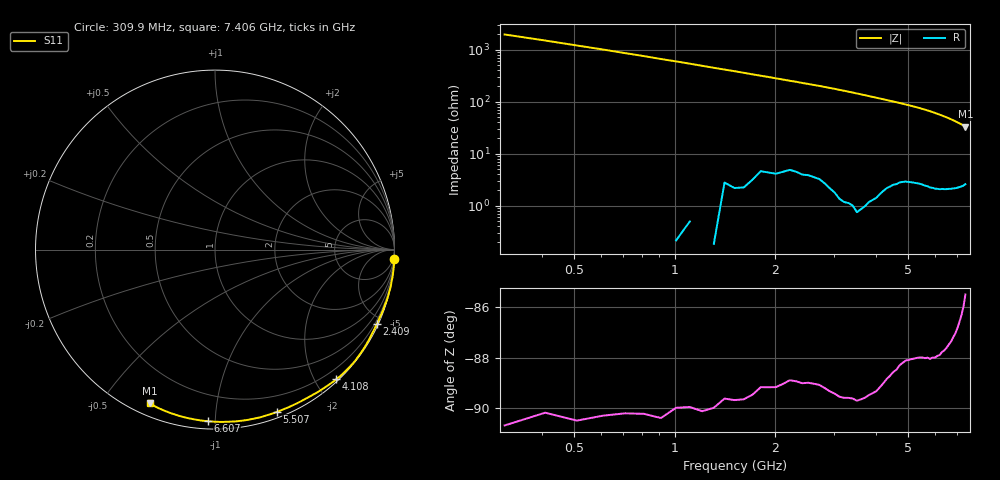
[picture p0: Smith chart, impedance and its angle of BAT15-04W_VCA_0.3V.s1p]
! Infineon Technologies  Discrete & RF Semiconductors
! BAT15-04W-E6327
! VCA = 0.3 V
! One-Port S-Parameters
# Hz  S  MA  R  50
!f  S11
!Hz  Mag  Ang
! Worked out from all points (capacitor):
!   72 points, 309.9 MHz to 7.406 GHz, reference 50 ohm
!   read as one part to ground: C = 259 fF near 309.9 MHz
!   lowest |Z| = 33.1 ohm at 7.406 GHz (marker M1)
!   S11 on the Smith chart (normalised r, x): 309.9 MHz: -0, -39; 2.409 GHz: 0.08, -4.58; 4.108 GHz: 0.03, -2.31; 5.507 GHz: 0.05, -1.45; 6.607 GHz: 0.04, -0.96; 7.406 GHz: 0.05, -0.66
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3.0985e8  1.001 -2.9
9.0955e8  1.001 -8.6
1.2094e9  1 -11.7
1.6092e9  0.9983 -15.8
2.10895e9  0.9939 -21.2
2.30885e9  0.9926 -23.4
2.4088e9  0.9928 -24.6
2.70865e9  0.9925 -27.9
3.0085e9  0.9947 -31.6
3.4083e9  0.996 -36.9
3.6082e9  0.9961 -39.7
3.90805e9  0.9928 -44.0
4.10795e9  0.9895 -46.9
4.6077e9  0.9786 -54.2
4.8076e9  0.974 -57.3
5.2074e9  0.9697 -63.7
5.4073e9  0.9682 -67.1
5.50725e9  0.9678 -69.0
5.6072e9  0.9679 -70.8
5.70715e9  0.9672 -72.7
6.007e9  0.9663 -78.8
6.2069e9  0.9642 -83.2
6.4068e9  0.9609 -87.7
6.6067e9  0.957 -92.4
6.8066e9  0.9526 -97.3
7.0065e9  0.9476 -102.3
7.2064e9  0.9408 -107.6
7.4063e9  0.9304 -113.0
